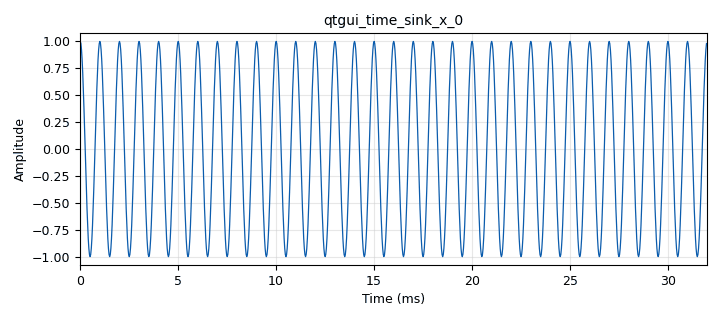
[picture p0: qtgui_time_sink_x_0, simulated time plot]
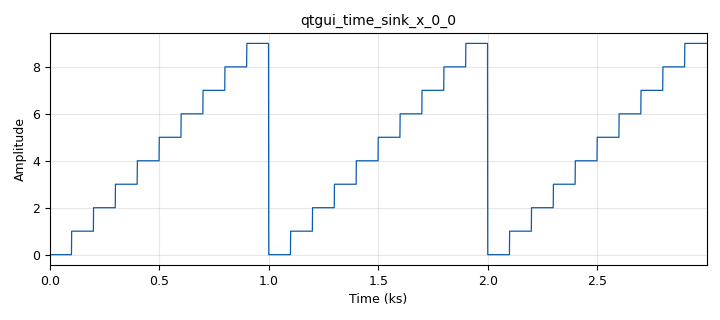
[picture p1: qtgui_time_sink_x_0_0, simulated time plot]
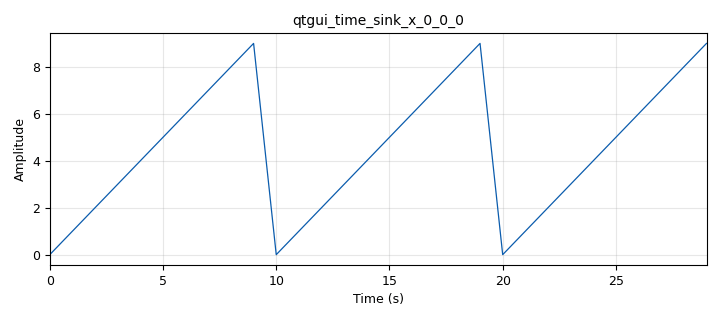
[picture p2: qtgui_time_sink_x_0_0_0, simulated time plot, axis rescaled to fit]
options:
  parameters:
    generate_options: qt_gui
    id: stream_tags
    output_language: python
    title: stream_tags
  states: {}

blocks:
- name: samp_rate
  id: variable
  parameters:
    value: '32000'
  states: {}
- name: analog_sig_source_x_0
  id: analog_sig_source_x
  parameters:
    amp: '1'
    freq: '1000'
    offset: '0'
    phase: '0'
    samp_rate: samp_rate
    type: float
    waveform: analog.GR_COS_WAVE
  states: {}
- name: blocks_add_xx_0
  id: blocks_add_xx
  parameters:
    type: float
  states: {}
- name: blocks_repeat_0
  id: blocks_repeat
  parameters:
    interp: '100'
    type: float
  states: {}
- name: blocks_tags_strobe_0
  id: blocks_tags_strobe
  parameters:
    key: pmt.intern("strobe")
    nsamps: '10'
    type: float
    value: pmt.intern("TEST")
  states: {}
- name: blocks_throttle2_0
  id: blocks_throttle2
  parameters:
    samples_per_second: samp_rate
    type: float
  states: {}
- name: blocks_throttle2_1
  id: blocks_throttle2
  parameters:
    samples_per_second: samp_rate
    type: float
  states: {}
- name: blocks_vector_source_x_0
  id: blocks_vector_source_x
  parameters:
    repeat: 'True'
    type: float
    vector: range(10)
  states: {}
- name: epy_block_0
  id: epy_block
  parameters:
    _source_code: |
      """
      Embedded Python Blocks:

      Each time this file is saved, GRC will instantiate the first class it finds
      to get ports and parameters of your block. The arguments to __init__  will
      be the parameters. All of them are required to have default values!
      """

      import numpy as np
      from gnuradio import gr
      import pmt

      class blk(gr.sync_block):  # other base classes are basic_block, decim_block, interp_block
          """Embedded Python Block example - a simple multiply const"""

          def __init__(self):  # only default arguments here
              """arguments to this function show up as parameters in GRC"""
              gr.sync_block.__init__(
                  self,
                  name='Embedded Python Block',   # will show up in GRC
                  in_sig=[np.float32],
                  out_sig=[np.float32]
              )
              # if an attribute with the same name as a parameter is found,
              # a callback is registered (properties work, too).

          def work(self, input_items, output_items):
              for indx, sample in enumerate(input_items[0]): # Enumerate through the input samples in port in0
                  if np.random.rand() > 0.95: # 5% chance this sample is chosen
                      key = pmt.intern("example_key")
                      value = pmt.intern("example_value")
                      self.add_item_tag(0, # Write to output port 0
                              self.nitems_written(0) + indx, # Index of the tag in absolute terms
                              key, # Key of the tag
                              value # Value of the tag
                      )
                      # note: (self.nitems_written(0) + indx) is our current sample, in absolute time
              output_items[0][:] = input_items[0] # copy input to output
              return len(output_items[0])
  states: {}
- name: qtgui_time_sink_x_0
  id: qtgui_time_sink_x
  parameters:
    size: '1024'
    srate: samp_rate
    type: float
  states: {}
- name: qtgui_time_sink_x_0_0
  id: qtgui_time_sink_x
  parameters:
    autoscale: 'True'
    size: '3000'
    srate: '1'
    type: float
  states: {}
- name: qtgui_time_sink_x_0_0_0
  id: qtgui_time_sink_x
  parameters:
    size: '30'
    srate: '1'
    type: float
  states: {}

connections:
- [analog_sig_source_x_0, '0', blocks_throttle2_0, '0']
- [blocks_add_xx_0, '0', blocks_throttle2_1, '0']
- [blocks_repeat_0, '0', qtgui_time_sink_x_0_0, '0']
- [blocks_tags_strobe_0, '0', blocks_add_xx_0, '1']
- [blocks_throttle2_0, '0', epy_block_0, '0']
- [blocks_throttle2_1, '0', blocks_repeat_0, '0']
- [blocks_throttle2_1, '0', qtgui_time_sink_x_0_0_0, '0']
- [blocks_vector_source_x_0, '0', blocks_add_xx_0, '0']
- [epy_block_0, '0', qtgui_time_sink_x_0, '0']

metadata:
  file_format: 1
  grc_version: v3.11.0.0git-843-g6b25c171
